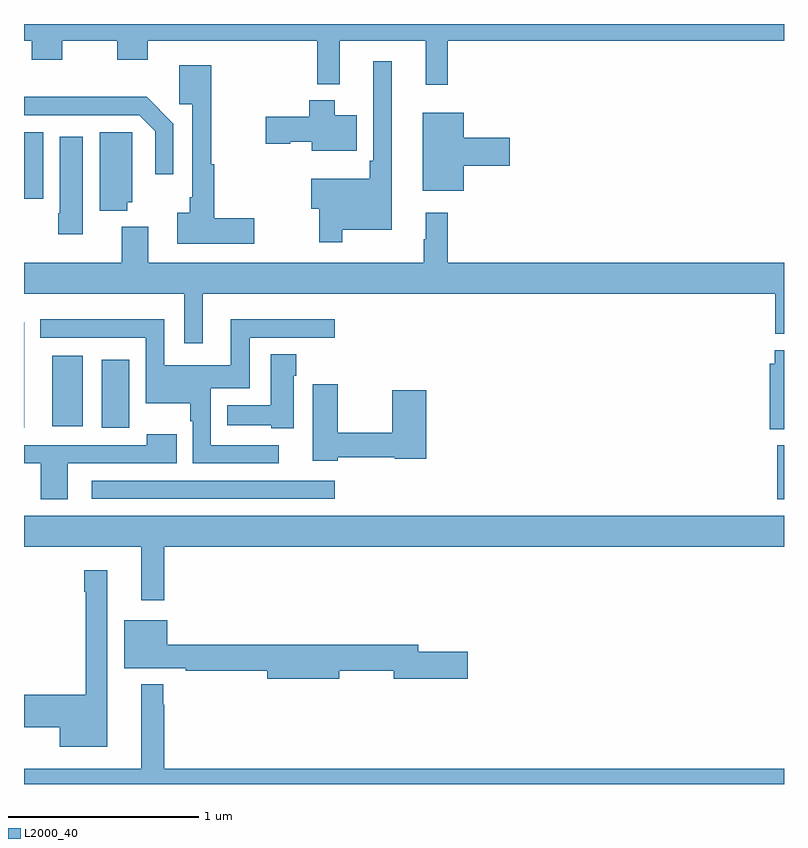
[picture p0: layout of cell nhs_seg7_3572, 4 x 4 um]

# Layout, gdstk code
import gdstk
lib = gdstk.Library(unit=1e-6, precision=1e-09)
def R(c, l, rs):  # rectangles x0, y0, x1, y1
    for r in rs: c.add(gdstk.rectangle(r[:2], r[2:], *l))
def P(c, l, *ps):  # polygons
    for p in ps: c.add(gdstk.Polygon(p, *l))
L2000_40 = (2000, 40)

nhs_seg7_3572 = lib.new_cell('nhs_seg7_3572')
R(nhs_seg7_3572, L2000_40, [(342.965,1035.498,343,1035.783), (339.357,1035.501,340.636,1035.597), (339,1035.876,339.001,1036.429), (339.41,1035.876,339.553,1036.234), (339.149,1035.884,339.31,1036.255), (339,1037.079,339.1,1037.431)])
P(nhs_seg7_3572, L2000_40, [(341.231,1037.912),(343,1037.912),(343,1038),(339,1038),(339,1037.912),(339.041,1037.912),(339.041,1037.813),(339.201,1037.813),(339.201,1037.912),(339.49,1037.912),(339.49,1037.813),(339.65,1037.813),(339.65,1037.912),(340.543,1037.912),(340.543,1037.684),(340.661,1037.684),(340.661,1037.912),(341.114,1037.912),(341.114,1037.679),(341.231,1037.679)],
  [(340.675,1036.916),(340.936,1036.916),(340.936,1037.803),(340.839,1037.803),(340.839,1037.281),(340.819,1037.281),(340.819,1037.185),(340.512,1037.185),(340.512,1037.027),(340.554,1037.027),(340.554,1036.851),(340.675,1036.851)],
  [(340.213,1036.978),(340.001,1036.978),(340.001,1037.262),(339.986,1037.262),(339.986,1037.782),(339.816,1037.782),(339.816,1037.577),(339.885,1037.577),(339.885,1037.089),(339.873,1037.089),(339.873,1037.006),(339.807,1037.006),(339.807,1036.844),(340.213,1036.844)],
  [(339.786,1037.476),(339.645,1037.618),(339,1037.618),(339,1037.52),(339.606,1037.52),(339.69,1037.436),(339.69,1037.208),(339.786,1037.208)],
  [(340.75,1037.521),(340.636,1037.521),(340.636,1037.599),(340.502,1037.599),(340.502,1037.511),(340.272,1037.511),(340.272,1037.369),(340.401,1037.369),(340.401,1037.381),(340.514,1037.381),(340.514,1037.333),(340.75,1037.333)],
  [(341.314,1037.255),(341.557,1037.255),(341.557,1037.402),(341.314,1037.402),(341.314,1037.533),(341.099,1037.533),(341.099,1037.123),(341.314,1037.123)],
  [(339.543,1037.063),(339.571,1037.063),(339.571,1037.431),(339.398,1037.431),(339.398,1037.017),(339.543,1037.017)],
  [(339.31,1037.407),(339.188,1037.407),(339.188,1037.005),(339.181,1037.005),(339.181,1036.893),(339.31,1036.893)],
  [(339.94,1036.58),(342.953,1036.58),(342.953,1036.369),(343,1036.369),(343,1036.744),(341.231,1036.744),(341.231,1037.007),(341.114,1037.007),(341.114,1036.868),(341.103,1036.868),(341.103,1036.744),(339.655,1036.744),(339.655,1036.932),(339.515,1036.932),(339.515,1036.744),(339,1036.744),(339,1036.58),(339.843,1036.58),(339.843,1036.32),(339.94,1036.32)],
  [(340.342,1035.783),(339.984,1035.783),(339.984,1036.082),(340.189,1036.082),(340.189,1036.35),(340.636,1036.35),(340.636,1036.447),(340.088,1036.447),(340.088,1036.204),(339.738,1036.204),(339.738,1036.447),(339.086,1036.447),(339.086,1036.35),(339.642,1036.35),(339.642,1036.004),(339.876,1036.004),(339.876,1035.908),(339.888,1035.908),(339.888,1035.687),(340.342,1035.687)],
  [(343,1036.284),(342.95,1036.284),(342.95,1036.212),(342.926,1036.212),(342.926,1035.868),(343,1035.868)],
  [(340.42,1036.148),(340.433,1036.148),(340.433,1036.261),(340.298,1036.261),(340.298,1035.994),(340.071,1035.994),(340.071,1035.887),(340.302,1035.887),(340.302,1035.872),(340.42,1035.872)],
  [(340.65,1035.72),(340.95,1035.72),(340.95,1035.712),(341.117,1035.712),(341.117,1036.072),(340.939,1036.072),(340.939,1035.848),(340.65,1035.848),(340.65,1036.105),(340.52,1036.105),(340.52,1035.701),(340.65,1035.701)],
  [(339.229,1035.687),(339.803,1035.687),(339.803,1035.841),(339.647,1035.841),(339.647,1035.783),(339,1035.783),(339,1035.687),(339.089,1035.687),(339.089,1035.498),(339.229,1035.498)],
  [(339.739,1035.248),(343,1035.248),(343,1035.412),(339,1035.412),(339,1035.248),(339.617,1035.248),(339.617,1034.967),(339.739,1034.967)],
  [(339.439,1035.124),(339.318,1035.124),(339.318,1035.011),(339.325,1035.011),(339.325,1034.471),(339,1034.471),(339,1034.3),(339.188,1034.3),(339.188,1034.195),(339.439,1034.195)],
  [(340.66,1034.596),(340.946,1034.596),(340.946,1034.554),(341.335,1034.554),(341.335,1034.696),(341.074,1034.696),(341.074,1034.732),(339.754,1034.732),(339.754,1034.863),(339.527,1034.863),(339.527,1034.609),(339.85,1034.609),(339.85,1034.596),(340.28,1034.596),(340.28,1034.554),(340.66,1034.554)],
  [(339.739,1034.417),(339.732,1034.417),(339.732,1034.524),(339.617,1034.524),(339.617,1034.08),(339,1034.08),(339,1034),(343,1034),(343,1034.08),(339.739,1034.08)])

lib.write_gds('nhs_seg7_3572.gds')
